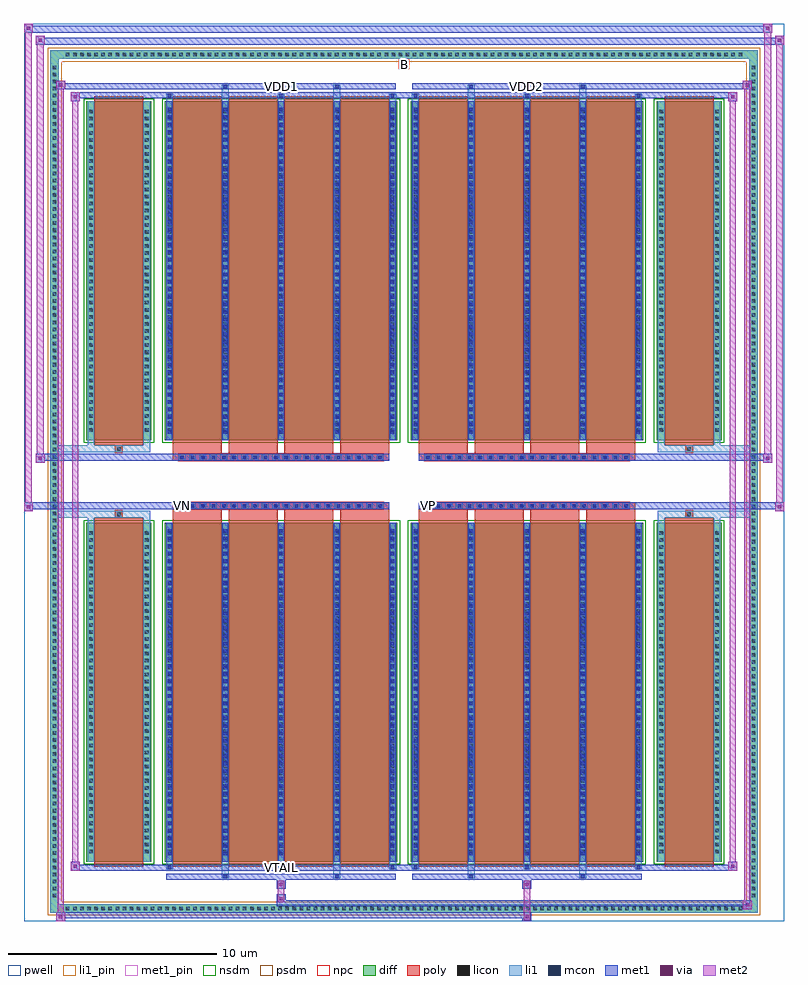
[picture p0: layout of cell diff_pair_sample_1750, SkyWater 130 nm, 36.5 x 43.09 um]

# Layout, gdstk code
import gdstk
lib = gdstk.Library(unit=1e-6, precision=5e-09)
def R(c, l, rs):  # rectangles x0, y0, x1, y1
    for r in rs: c.add(gdstk.rectangle(r[:2], r[2:], *l))
def A(c, l, x, y, w, h, nx, ny, dx, dy):  # array of equal rectangles
    R(c, l, [(x+i*dx, y+j*dy, x+i*dx+w, y+j*dy+h) for i in range(nx) for j in range(ny)])
def P(c, l, *ps):  # polygons
    for p in ps: c.add(gdstk.Polygon(p, *l))
pwell = (64, 44)
diff = (65, 20)
poly = (66, 20)
licon = (66, 44)
li1_pin = (67, 16)
li1 = (67, 20)
mcon = (67, 44)
met1_pin = (68, 16)
met1 = (68, 20)
via = (68, 44)
met2 = (69, 20)
nsdm = (93, 44)
psdm = (94, 20)
npc = (95, 20)

diff_pair_sample_1750 = lib.new_cell('diff_pair_sample_1750')
R(diff_pair_sample_1750, pwell, [(-18.25,-21.11,18.25,21.98), (-15.57,-19.3,-0.01,-0.8), (0.01,-19.3,15.57,-0.8), (-15.57,0.8,-0.01,19.3), (0.01,0.8,15.57,19.3)])
A(diff_pair_sample_1750, diff, -16.355, -20.71, 0.41, 0.41, 96, 2, 0.34, 41.01)
A(diff_pair_sample_1750, diff, -16.98, -20.095, 0.41, 0.41, 1, 118, 0, 0.34)
A(diff_pair_sample_1750, diff, 16.57, -20.095, 0.41, 0.41, 1, 118, 0, 0.34)
R(diff_pair_sample_1750, diff, [(-16.355,-20.71,16.355,-20.3), (-16.98,-20.095,-16.57,20.095), (16.57,-20.095,16.98,20.095), (-15.26,-18.255,-12.13,-1.985), (-11.49,-18.255,-0.32,-1.985), (0.32,-18.255,11.49,-1.985), (12.13,-18.255,15.26,-1.985), (-15.26,1.985,-12.13,18.255), (-11.49,1.985,-0.32,18.255), (0.32,1.985,11.49,18.255), (12.13,1.985,15.26,18.255), (-16.355,20.3,16.355,20.71)])
P(diff_pair_sample_1750, diff, [(16.98,20.71),(-16.98,20.71),(-16.98,-20.3),(-16.57,-20.3),(-16.57,20.3),(16.57,20.3),(16.57,-20.3),(-16.57,-20.3),(-16.98,-20.3),(-16.98,-20.71),(16.98,-20.71)])
A(diff_pair_sample_1750, poly, -11.1, -18.505, 2.35, 16.77, 4, 2, 2.68, 20.24)
A(diff_pair_sample_1750, poly, 0.71, -18.505, 2.35, 16.77, 4, 2, 2.68, 20.24)
A(diff_pair_sample_1750, poly, -11.1, -1.735, 2.35, 0.405, 4, 2, 2.68, 3.065)
A(diff_pair_sample_1750, poly, 0.71, -1.735, 2.35, 0.405, 4, 2, 2.68, 3.065)
A(diff_pair_sample_1750, poly, -10.82, -1.33, 0.33, 0.33, 20, 2, 0.5, 2.33)
A(diff_pair_sample_1750, poly, 0.99, -1.33, 0.33, 0.33, 20, 2, 0.5, 2.33)
R(diff_pair_sample_1750, poly, [(-14.87,-18.505,-12.52,-1.735), (12.52,-18.505,14.87,-1.735), (-13.86,-1.735,-13.53,-1.405), (-13.86,-1.735,-13.53,-1.405), (13.53,-1.735,13.86,-1.405), (13.53,-1.735,13.86,-1.405), (-11.1,-1.33,-0.71,-1), (0.71,-1.33,11.1,-1), (-11.1,1,-0.71,1.33), (0.71,1,11.1,1.33), (-13.86,1.405,-13.53,1.735), (-13.86,1.405,-13.53,1.735), (13.53,1.405,13.86,1.735), (13.53,1.405,13.86,1.735), (-14.87,1.735,-12.52,18.505), (12.52,1.735,14.87,18.505)])
A(diff_pair_sample_1750, licon, -16.235, -20.59, 0.17, 0.17, 96, 2, 0.34, 41.01)
A(diff_pair_sample_1750, licon, -16.86, -19.975, 0.17, 0.17, 1, 118, 0, 0.34)
A(diff_pair_sample_1750, licon, 16.69, -19.975, 0.17, 0.17, 1, 118, 0, 0.34)
A(diff_pair_sample_1750, licon, -15.12, -17.855, 0.17, 0.17, 1, 46, 0, 0.34)
A(diff_pair_sample_1750, licon, -12.44, -17.855, 0.17, 0.17, 1, 46, 0, 0.34)
A(diff_pair_sample_1750, licon, -11.35, -17.855, 0.17, 0.17, 5, 46, 2.68, 0.34)
A(diff_pair_sample_1750, licon, 0.46, -17.855, 0.17, 0.17, 5, 46, 2.68, 0.34)
A(diff_pair_sample_1750, licon, 12.27, -17.855, 0.17, 0.17, 1, 46, 0, 0.34)
A(diff_pair_sample_1750, licon, 14.95, -17.855, 0.17, 0.17, 1, 46, 0, 0.34)
A(diff_pair_sample_1750, licon, -10.74, -1.25, 0.17, 0.17, 20, 2, 0.5, 2.33)
A(diff_pair_sample_1750, licon, 1.07, -1.25, 0.17, 0.17, 20, 2, 0.5, 2.33)
A(diff_pair_sample_1750, licon, -15.12, 2.385, 0.17, 0.17, 1, 46, 0, 0.34)
A(diff_pair_sample_1750, licon, -12.44, 2.385, 0.17, 0.17, 1, 46, 0, 0.34)
A(diff_pair_sample_1750, licon, -11.35, 2.385, 0.17, 0.17, 5, 46, 2.68, 0.34)
A(diff_pair_sample_1750, licon, 0.46, 2.385, 0.17, 0.17, 5, 46, 2.68, 0.34)
A(diff_pair_sample_1750, licon, 12.27, 2.385, 0.17, 0.17, 1, 46, 0, 0.34)
A(diff_pair_sample_1750, licon, 14.95, 2.385, 0.17, 0.17, 1, 46, 0, 0.34)
R(diff_pair_sample_1750, licon, [(-13.78,-1.655,-13.61,-1.485), (13.61,-1.655,13.78,-1.485), (-13.78,1.485,-13.61,1.655), (13.61,1.485,13.78,1.655)])
R(diff_pair_sample_1750, li1_pin, [(-0.25,19.8,0.25,20.3)])
A(diff_pair_sample_1750, li1, -16.315, -20.67, 0.33, 0.33, 96, 2, 0.34, 41.01)
A(diff_pair_sample_1750, li1, -16.94, -20.055, 0.33, 0.33, 1, 118, 0, 0.34)
A(diff_pair_sample_1750, li1, 16.61, -20.055, 0.33, 0.33, 1, 118, 0, 0.34)
A(diff_pair_sample_1750, li1, -11.43, -18.63, 0.33, 0.375, 3, 2, 5.36, 36.885)
A(diff_pair_sample_1750, li1, -11.35, -18.63, 0.17, 0.17, 3, 2, 5.36, 37.09)
A(diff_pair_sample_1750, li1, 0.38, -18.63, 0.33, 0.375, 3, 2, 5.36, 36.885)
A(diff_pair_sample_1750, li1, 0.46, -18.63, 0.17, 0.17, 3, 2, 5.36, 37.09)
A(diff_pair_sample_1750, li1, -11.43, -18.255, 0.33, 16.27, 5, 2, 2.68, 20.24)
A(diff_pair_sample_1750, li1, 0.38, -18.255, 0.33, 16.27, 5, 2, 2.68, 20.24)
A(diff_pair_sample_1750, li1, -11.35, -17.945, 0.17, 0.17, 5, 44, 2.68, 0.36)
A(diff_pair_sample_1750, li1, -11.35, -17.945, 0.17, 15.65, 5, 2, 2.68, 20.24)
A(diff_pair_sample_1750, li1, 0.46, -17.945, 0.17, 0.17, 5, 44, 2.68, 0.36)
A(diff_pair_sample_1750, li1, 0.46, -17.945, 0.17, 15.65, 5, 2, 2.68, 20.24)
A(diff_pair_sample_1750, li1, -15.2, -17.935, 0.33, 0.33, 1, 46, 0, 0.34)
A(diff_pair_sample_1750, li1, -12.52, -17.935, 0.33, 0.33, 1, 46, 0, 0.34)
A(diff_pair_sample_1750, li1, -11.43, -17.935, 0.33, 0.33, 5, 46, 2.68, 0.34)
A(diff_pair_sample_1750, li1, 0.38, -17.935, 0.33, 0.33, 5, 46, 2.68, 0.34)
A(diff_pair_sample_1750, li1, 12.19, -17.935, 0.33, 0.33, 1, 46, 0, 0.34)
A(diff_pair_sample_1750, li1, 14.87, -17.935, 0.33, 0.33, 1, 46, 0, 0.34)
A(diff_pair_sample_1750, li1, -10.82, -1.33, 0.33, 0.33, 20, 2, 0.5, 2.33)
A(diff_pair_sample_1750, li1, 0.99, -1.33, 0.33, 0.33, 20, 2, 0.5, 2.33)
A(diff_pair_sample_1750, li1, -11.35, 2.295, 0.17, 0.17, 5, 44, 2.68, 0.36)
A(diff_pair_sample_1750, li1, 0.46, 2.295, 0.17, 0.17, 5, 44, 2.68, 0.36)
A(diff_pair_sample_1750, li1, -15.2, 2.305, 0.33, 0.33, 1, 46, 0, 0.34)
A(diff_pair_sample_1750, li1, -12.52, 2.305, 0.33, 0.33, 1, 46, 0, 0.34)
A(diff_pair_sample_1750, li1, -11.43, 2.305, 0.33, 0.33, 5, 46, 2.68, 0.34)
A(diff_pair_sample_1750, li1, 0.38, 2.305, 0.33, 0.33, 5, 46, 2.68, 0.34)
A(diff_pair_sample_1750, li1, 12.19, 2.305, 0.33, 0.33, 1, 46, 0, 0.34)
A(diff_pair_sample_1750, li1, 14.87, 2.305, 0.33, 0.33, 1, 46, 0, 0.34)
R(diff_pair_sample_1750, li1, [(-16.98,-20.71,-16.57,-20.3), (-16.98,-20.71,-16.57,-20.3), (-16.57,-20.71,16.57,-20.3), (16.57,-20.71,16.98,-20.3), (16.57,-20.71,16.98,-20.3), (-16.98,-20.3,-16.57,20.3), (16.57,-20.3,16.98,20.3), (-8.75,-19.06,-8.42,-18.255), (-8.67,-19.06,-8.5,-18.89), (-3.39,-19.06,-3.06,-18.255), (-3.31,-19.06,-3.14,-18.89), (3.06,-19.06,3.39,-18.255), (3.14,-19.06,3.31,-18.89), (8.42,-19.06,8.75,-18.255), (8.5,-19.06,8.67,-18.89), (-15.2,-18.255,-14.87,-1.985), (-12.52,-18.255,-12.19,-1.985), (12.19,-18.255,12.52,-1.985), (14.87,-18.255,15.2,-1.985), (-15.2,-1.985,-14.87,-1.405), (-12.52,-1.985,-12.19,-1.405), (12.19,-1.985,12.52,-1.405), (14.87,-1.985,15.2,-1.405), (-16.98,-1.735,-13.86,-1.405), (-15.2,-1.735,-13.86,-1.405), (-13.86,-1.735,-13.53,-1.405), (-13.53,-1.735,-12.19,-1.405), (12.19,-1.735,13.53,-1.405), (13.53,-1.735,13.86,-1.405), (13.53,-1.735,16.98,-1.405), (13.86,-1.735,15.2,-1.405), (-16.98,1.405,-13.86,1.735), (-15.2,1.405,-13.86,1.735), (-15.2,1.405,-14.87,1.985), (-13.86,1.405,-13.53,1.735), (-13.53,1.405,-12.19,1.735), (-12.52,1.405,-12.19,1.985), (12.19,1.405,13.53,1.735), (12.19,1.405,12.52,1.985), (13.53,1.405,13.86,1.735), (13.53,1.405,16.98,1.735), (13.86,1.405,15.2,1.735), (14.87,1.405,15.2,1.985), (-15.2,1.985,-14.87,18.255), (-12.52,1.985,-12.19,18.255), (12.19,1.985,12.52,18.255), (14.87,1.985,15.2,18.255), (-8.75,18.255,-8.42,19.06), (-3.39,18.255,-3.06,19.06), (3.06,18.255,3.39,19.06), (8.42,18.255,8.75,19.06), (-8.67,18.89,-8.5,19.06), (-3.31,18.89,-3.14,19.06), (3.14,18.89,3.31,19.06), (8.5,18.89,8.67,19.06), (-16.98,20.3,-16.57,20.71), (-16.98,20.3,-16.57,20.71), (-16.57,20.3,16.57,20.71), (16.57,20.3,16.98,20.71), (16.57,20.3,16.98,20.71)])
A(diff_pair_sample_1750, mcon, -11.35, -18.63, 0.17, 0.17, 3, 2, 5.36, 37.09)
A(diff_pair_sample_1750, mcon, 0.46, -18.63, 0.17, 0.17, 3, 2, 5.36, 37.09)
A(diff_pair_sample_1750, mcon, -11.35, -17.945, 0.17, 0.17, 5, 44, 2.68, 0.36)
A(diff_pair_sample_1750, mcon, 0.46, -17.945, 0.17, 0.17, 5, 44, 2.68, 0.36)
A(diff_pair_sample_1750, mcon, -10.74, -1.25, 0.17, 0.17, 20, 2, 0.5, 2.33)
A(diff_pair_sample_1750, mcon, 1.07, -1.25, 0.17, 0.17, 20, 2, 0.5, 2.33)
A(diff_pair_sample_1750, mcon, -11.35, 2.295, 0.17, 0.17, 5, 44, 2.68, 0.36)
A(diff_pair_sample_1750, mcon, 0.46, 2.295, 0.17, 0.17, 5, 44, 2.68, 0.36)
R(diff_pair_sample_1750, mcon, [(-8.67,-19.06,-8.5,-18.89), (-3.31,-19.06,-3.14,-18.89), (3.14,-19.06,3.31,-18.89), (8.5,-19.06,8.67,-18.89), (-8.67,18.89,-8.5,19.06), (-3.31,18.89,-3.14,19.06), (3.14,18.89,3.31,19.06), (8.5,18.89,8.67,19.06)])
R(diff_pair_sample_1750, met1_pin, [(-6.04,-18.67,-5.77,-18.4), (-10.79,-1.29,-10.52,-1.02), (1.02,-1.29,1.29,-1.02), (-6.04,18.85,-5.77,19.12), (5.77,18.85,6.04,19.12)])
A(diff_pair_sample_1750, met1, -11.41, -18.69, 0.29, 0.29, 3, 2, 5.36, 37.09)
A(diff_pair_sample_1750, met1, 0.4, -18.69, 0.29, 0.29, 3, 2, 5.36, 37.09)
A(diff_pair_sample_1750, met1, -11.41, -18.255, 0.29, 16.27, 5, 2, 2.68, 20.24)
A(diff_pair_sample_1750, met1, 0.4, -18.255, 0.29, 16.27, 5, 2, 2.68, 20.24)
A(diff_pair_sample_1750, met1, -11.41, -18.005, 0.29, 0.29, 5, 44, 2.68, 0.36)
A(diff_pair_sample_1750, met1, 0.4, -18.005, 0.29, 0.29, 5, 44, 2.68, 0.36)
A(diff_pair_sample_1750, met1, -10.8, -1.31, 0.29, 0.29, 20, 2, 0.5, 2.33)
A(diff_pair_sample_1750, met1, 1.01, -1.31, 0.29, 0.29, 20, 2, 0.5, 2.33)
A(diff_pair_sample_1750, met1, -11.41, 2.235, 0.29, 0.29, 5, 44, 2.68, 0.36)
A(diff_pair_sample_1750, met1, 0.4, 2.235, 0.29, 0.29, 5, 44, 2.68, 0.36)
R(diff_pair_sample_1750, met1, [(-16.71,-21.11,-16.28,-20.68), (5.69,-21.11,6.12,-20.68), (-16.71,-20.97,6.12,-20.68), (16.28,-20.54,16.71,-20.11), (-6.12,-20.4,16.71,-20.11), (-6.12,-20.26,-5.69,-19.83), (-6.12,-19.55,-5.69,-19.12), (5.69,-19.55,6.12,-19.12), (-11.41,-19.12,-0.4,-18.83), (-8.73,-19.12,-8.44,-18.83), (-3.37,-19.12,-3.08,-18.83), (0.4,-19.12,11.41,-18.83), (3.08,-19.12,3.37,-18.83), (8.44,-19.12,8.73,-18.83), (-16,-18.69,-15.57,-18.26), (-16,-18.69,-11.41,-18.4), (-11.41,-18.69,-0.4,-18.4), (-0.4,-18.69,0.4,-18.4), (0.4,-18.69,11.41,-18.4), (11.41,-18.69,16,-18.4), (15.57,-18.69,16,-18.26), (-18.25,-1.43,-17.82,-1), (17.82,-1.43,18.25,-1), (-18.25,-1.33,-0.71,-1), (-11.1,-1.33,-0.71,-1), (0.71,-1.33,11.1,-1), (0.71,-1.33,18.25,-1), (-17.68,0.9,-17.25,1.33), (17.25,0.9,17.68,1.33), (-17.68,1,-11.1,1.33), (-11.1,1,-0.71,1.33), (0.71,1,11.1,1.33), (11.1,1,17.68,1.33), (-16,18.26,-15.57,18.69), (15.57,18.26,16,18.69), (-16,18.4,-11.41,18.69), (-11.41,18.4,-0.4,18.69), (-0.4,18.4,0.4,18.69), (0.4,18.4,11.41,18.69), (11.41,18.4,16,18.69), (-16.71,18.83,-16.28,19.26), (-16.71,18.83,-11.41,19.12), (-11.41,18.83,-0.4,19.12), (-8.73,18.83,-8.44,19.12), (-3.37,18.83,-3.08,19.12), (0.4,18.83,11.41,19.12), (3.08,18.83,3.37,19.12), (8.44,18.83,8.73,19.12), (11.41,18.83,16.71,19.12), (16.28,18.83,16.71,19.26), (-17.68,20.98,-17.25,21.41), (-17.68,20.98,-15.57,21.31), (-15.57,20.98,15.57,21.31), (15.57,20.98,18.25,21.31), (17.82,20.98,18.25,21.41), (-18.25,21.55,-17.82,21.98), (-18.25,21.55,-15.57,21.88), (-15.57,21.55,15.57,21.88), (15.57,21.55,17.68,21.88), (17.25,21.55,17.68,21.98)])
R(diff_pair_sample_1750, via, [(-16.57,-20.97,-16.42,-20.82), (5.83,-20.97,5.98,-20.82), (16.42,-20.4,16.57,-20.25), (-5.98,-20.12,-5.83,-19.97), (-5.98,-19.41,-5.83,-19.26), (5.83,-19.41,5.98,-19.26), (-15.86,-18.55,-15.71,-18.4), (15.71,-18.55,15.86,-18.4), (-18.11,-1.29,-17.96,-1.14), (17.96,-1.29,18.11,-1.14), (-17.54,1.04,-17.39,1.19), (17.39,1.04,17.54,1.19), (-15.86,18.4,-15.71,18.55), (15.71,18.4,15.86,18.55), (-16.57,18.97,-16.42,19.12), (16.42,18.97,16.57,19.12), (-17.54,21.12,-17.39,21.27), (17.96,21.12,18.11,21.27), (-18.11,21.69,-17.96,21.84), (17.39,21.69,17.54,21.84)])
R(diff_pair_sample_1750, met2, [(-16.71,-21.11,-16.28,-20.68), (-16.64,-21.11,-16.35,19.26), (-16.35,-21.11,-16.28,-20.68), (-16.66,-21.06,-16.33,-20.73), (5.74,-21.06,6.07,-20.73), (5.74,-20.73,6.07,-19.5), (16.28,-20.54,16.71,-20.11), (16.35,-20.54,16.64,19.26), (16.64,-20.54,16.71,-20.11), (16.33,-20.49,16.66,-20.16), (-6.07,-20.21,-5.74,-19.88), (-6.07,-19.88,-5.74,-19.5), (-6.07,-19.5,-5.74,-19.17), (5.74,-19.5,6.07,-19.17), (-16,-18.69,-15.57,-18.26), (-15.93,-18.69,-15.64,18.69), (-15.64,-18.69,-15.57,-18.26), (15.57,-18.69,16,-18.26), (15.64,-18.69,15.93,18.69), (15.93,-18.69,16,-18.26), (-15.95,-18.64,-15.62,-18.31), (15.62,-18.64,15.95,-18.31), (-18.25,-1.43,-17.82,-1), (-18.2,-1.43,-17.87,21.98), (-17.87,-1.43,-17.82,-1), (17.82,-1.43,18.25,-1), (17.87,-1.43,18.2,21.41), (18.2,-1.43,18.25,-1), (-18.2,-1.38,-17.87,-1.05), (17.87,-1.38,18.2,-1.05), (-17.68,0.9,-17.25,1.33), (-17.63,0.9,-17.3,21.41), (-17.3,0.9,-17.25,1.33), (17.25,0.9,17.68,1.33), (17.3,0.9,17.63,21.98), (17.63,0.9,17.68,1.33), (-17.63,0.95,-17.3,1.28), (17.3,0.95,17.63,1.28), (-16,18.26,-15.57,18.69), (-15.64,18.26,-15.57,18.69), (15.57,18.26,16,18.69), (15.93,18.26,16,18.69), (-15.95,18.31,-15.62,18.64), (15.62,18.31,15.95,18.64), (-16.71,18.83,-16.28,19.26), (-16.35,18.83,-16.28,19.26), (16.28,18.83,16.71,19.26), (16.64,18.83,16.71,19.26), (-16.66,18.88,-16.33,19.21), (16.33,18.88,16.66,19.21), (-17.68,20.98,-17.25,21.41), (-17.3,20.98,-17.25,21.41), (17.82,20.98,18.25,21.41), (18.2,20.98,18.25,21.41), (-17.63,21.03,-17.3,21.36), (17.87,21.03,18.2,21.36), (-18.25,21.55,-17.82,21.98), (-17.87,21.55,-17.82,21.98), (17.25,21.55,17.68,21.98), (17.63,21.55,17.68,21.98), (-18.2,21.6,-17.87,21.93), (17.3,21.6,17.63,21.93)])
R(diff_pair_sample_1750, nsdm, [(-15.39,-18.385,-12,-1.855), (-11.62,-18.385,-0.19,-1.855), (0.19,-18.385,11.62,-1.855), (12,-18.385,15.39,-1.855), (-15.39,1.855,-12,18.385), (-11.62,1.855,-0.19,18.385), (0.19,1.855,11.62,18.385), (12,1.855,15.39,18.385)])
P(diff_pair_sample_1750, psdm, [(17.11,20.84),(-17.11,20.84),(-17.11,-20.17),(-16.44,-20.17),(-16.44,20.17),(16.44,20.17),(16.44,-20.17),(-16.44,-20.17),(-17.11,-20.17),(-17.11,-20.84),(17.11,-20.84)])
A(diff_pair_sample_1750, npc, -10.84, -1.35, 0.37, 0.37, 20, 2, 0.5, 2.33)
A(diff_pair_sample_1750, npc, 0.97, -1.35, 0.37, 0.37, 20, 2, 0.5, 2.33)
R(diff_pair_sample_1750, npc, [(-13.88,-1.755,-13.51,-1.385), (13.51,-1.755,13.88,-1.385), (-10.84,-1.35,-9.97,-0.98), (-10.84,-1.35,-9.97,-0.98), (-10.34,-1.35,-9.47,-0.98), (-10.34,-1.35,-9.47,-0.98), (-9.84,-1.35,-8.97,-0.98), (-9.84,-1.35,-8.97,-0.98), (-9.34,-1.35,-8.47,-0.98), (-9.34,-1.35,-8.47,-0.98), (-8.84,-1.35,-7.97,-0.98), (-8.84,-1.35,-7.97,-0.98), (-8.34,-1.35,-7.47,-0.98), (-8.34,-1.35,-7.47,-0.98), (-7.84,-1.35,-6.97,-0.98), (-7.84,-1.35,-6.97,-0.98), (-7.34,-1.35,-6.47,-0.98), (-7.34,-1.35,-6.47,-0.98), (-6.84,-1.35,-5.97,-0.98), (-6.84,-1.35,-5.97,-0.98), (-6.34,-1.35,-5.47,-0.98), (-6.34,-1.35,-5.47,-0.98), (-5.84,-1.35,-4.97,-0.98), (-5.84,-1.35,-4.97,-0.98), (-5.34,-1.35,-4.47,-0.98), (-5.34,-1.35,-4.47,-0.98), (-4.84,-1.35,-3.97,-0.98), (-4.84,-1.35,-3.97,-0.98), (-4.34,-1.35,-3.47,-0.98), (-4.34,-1.35,-3.47,-0.98), (-3.84,-1.35,-2.97,-0.98), (-3.84,-1.35,-2.97,-0.98), (-3.34,-1.35,-2.47,-0.98), (-3.34,-1.35,-2.47,-0.98), (-2.84,-1.35,-1.97,-0.98), (-2.84,-1.35,-1.97,-0.98), (-2.34,-1.35,-1.47,-0.98), (-2.34,-1.35,-1.47,-0.98), (-1.84,-1.35,-0.97,-0.98), (-1.84,-1.35,-0.97,-0.98), (0.97,-1.35,1.84,-0.98), (0.97,-1.35,1.84,-0.98), (1.47,-1.35,2.34,-0.98), (1.47,-1.35,2.34,-0.98), (1.97,-1.35,2.84,-0.98), (1.97,-1.35,2.84,-0.98), (2.47,-1.35,3.34,-0.98), (2.47,-1.35,3.34,-0.98), (2.97,-1.35,3.84,-0.98), (2.97,-1.35,3.84,-0.98), (3.47,-1.35,4.34,-0.98), (3.47,-1.35,4.34,-0.98), (3.97,-1.35,4.84,-0.98), (3.97,-1.35,4.84,-0.98), (4.47,-1.35,5.34,-0.98), (4.47,-1.35,5.34,-0.98), (4.97,-1.35,5.84,-0.98), (4.97,-1.35,5.84,-0.98), (5.47,-1.35,6.34,-0.98), (5.47,-1.35,6.34,-0.98), (5.97,-1.35,6.84,-0.98), (5.97,-1.35,6.84,-0.98), (6.47,-1.35,7.34,-0.98), (6.47,-1.35,7.34,-0.98), (6.97,-1.35,7.84,-0.98), (6.97,-1.35,7.84,-0.98), (7.47,-1.35,8.34,-0.98), (7.47,-1.35,8.34,-0.98), (7.97,-1.35,8.84,-0.98), (7.97,-1.35,8.84,-0.98), (8.47,-1.35,9.34,-0.98), (8.47,-1.35,9.34,-0.98), (8.97,-1.35,9.84,-0.98), (8.97,-1.35,9.84,-0.98), (9.47,-1.35,10.34,-0.98), (9.47,-1.35,10.34,-0.98), (9.97,-1.35,10.84,-0.98), (9.97,-1.35,10.84,-0.98), (-10.84,0.98,-9.97,1.35), (-10.84,0.98,-9.97,1.35), (-10.34,0.98,-9.47,1.35), (-10.34,0.98,-9.47,1.35), (-9.84,0.98,-8.97,1.35), (-9.84,0.98,-8.97,1.35), (-9.34,0.98,-8.47,1.35), (-9.34,0.98,-8.47,1.35), (-8.84,0.98,-7.97,1.35), (-8.84,0.98,-7.97,1.35), (-8.34,0.98,-7.47,1.35), (-8.34,0.98,-7.47,1.35), (-7.84,0.98,-6.97,1.35), (-7.84,0.98,-6.97,1.35), (-7.34,0.98,-6.47,1.35), (-7.34,0.98,-6.47,1.35), (-6.84,0.98,-5.97,1.35), (-6.84,0.98,-5.97,1.35), (-6.34,0.98,-5.47,1.35), (-6.34,0.98,-5.47,1.35), (-5.84,0.98,-4.97,1.35), (-5.84,0.98,-4.97,1.35), (-5.34,0.98,-4.47,1.35), (-5.34,0.98,-4.47,1.35), (-4.84,0.98,-3.97,1.35), (-4.84,0.98,-3.97,1.35), (-4.34,0.98,-3.47,1.35), (-4.34,0.98,-3.47,1.35), (-3.84,0.98,-2.97,1.35), (-3.84,0.98,-2.97,1.35), (-3.34,0.98,-2.47,1.35), (-3.34,0.98,-2.47,1.35), (-2.84,0.98,-1.97,1.35), (-2.84,0.98,-1.97,1.35), (-2.34,0.98,-1.47,1.35), (-2.34,0.98,-1.47,1.35), (-1.84,0.98,-0.97,1.35), (-1.84,0.98,-0.97,1.35), (0.97,0.98,1.84,1.35), (0.97,0.98,1.84,1.35), (1.47,0.98,2.34,1.35), (1.47,0.98,2.34,1.35), (1.97,0.98,2.84,1.35), (1.97,0.98,2.84,1.35), (2.47,0.98,3.34,1.35), (2.47,0.98,3.34,1.35), (2.97,0.98,3.84,1.35), (2.97,0.98,3.84,1.35), (3.47,0.98,4.34,1.35), (3.47,0.98,4.34,1.35), (3.97,0.98,4.84,1.35), (3.97,0.98,4.84,1.35), (4.47,0.98,5.34,1.35), (4.47,0.98,5.34,1.35), (4.97,0.98,5.84,1.35), (4.97,0.98,5.84,1.35), (5.47,0.98,6.34,1.35), (5.47,0.98,6.34,1.35), (5.97,0.98,6.84,1.35), (5.97,0.98,6.84,1.35), (6.47,0.98,7.34,1.35), (6.47,0.98,7.34,1.35), (6.97,0.98,7.84,1.35), (6.97,0.98,7.84,1.35), (7.47,0.98,8.34,1.35), (7.47,0.98,8.34,1.35), (7.97,0.98,8.84,1.35), (7.97,0.98,8.84,1.35), (8.47,0.98,9.34,1.35), (8.47,0.98,9.34,1.35), (8.97,0.98,9.84,1.35), (8.97,0.98,9.84,1.35), (9.47,0.98,10.34,1.35), (9.47,0.98,10.34,1.35), (9.97,0.98,10.84,1.35), (9.97,0.98,10.84,1.35), (-13.88,1.385,-13.51,1.755), (13.51,1.385,13.88,1.755)])
diff_pair_sample_1750.add(gdstk.Label('VTAIL', (-5.905,-18.535), layer=68, texttype=5))
diff_pair_sample_1750.add(gdstk.Label('VN', (-10.655,-1.155), layer=68, texttype=5))
diff_pair_sample_1750.add(gdstk.Label('VP', (1.155,-1.155), layer=68, texttype=5))
diff_pair_sample_1750.add(gdstk.Label('B', (0,20.05), layer=67, texttype=5))
diff_pair_sample_1750.add(gdstk.Label('VDD2', (5.905,18.985), layer=68, texttype=5))
diff_pair_sample_1750.add(gdstk.Label('VDD1', (-5.905,18.985), layer=68, texttype=5))

lib.write_gds('diff_pair_sample_1750.gds')
